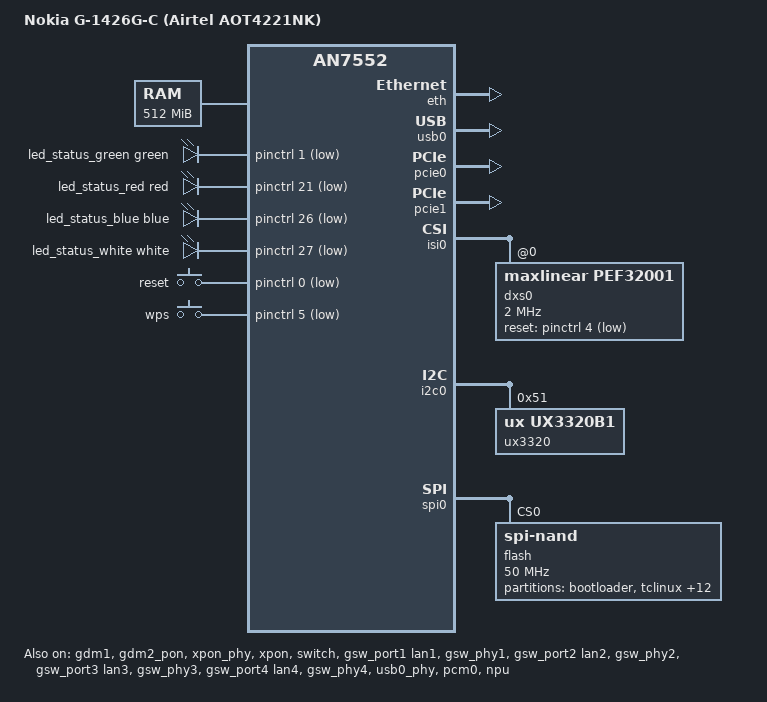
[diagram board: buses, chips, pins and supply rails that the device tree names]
// SPDX-License-Identifier: (GPL-2.0-only OR BSD-2-Clause)
/dts-v1/;

/memreserve/ 0x80000000 0x200000;

#include "an7552.dtsi"

/ {
	model = "Nokia G-1426G-C (Airtel AOT4221NK)";
	compatible = "nokia,g-1426g-c", "airoha,an7552";

	aliases {
		led-boot = &led_status_red;
		led-failsafe = &led_status_red;
		led-running = &led_status_red;
		led-upgrade = &led_status_blue;
	};

	chosen {
		bootargs = "console=ttyS0,115200n8";
	};

	memory@80000000 {
		device_type = "memory";
		reg = <0x80000000 0x20000000>;
	};

	leds {
		compatible = "gpio-leds";

		led_status_green: led-status-green {
			color = <LED_COLOR_ID_GREEN>;
			function = LED_FUNCTION_STATUS;
			gpios = <&pinctrl 1 GPIO_ACTIVE_LOW>;
		};

		led_status_red: led-status-red {
			color = <LED_COLOR_ID_RED>;
			function = LED_FUNCTION_STATUS;
			gpios = <&pinctrl 21 GPIO_ACTIVE_LOW>;
		};

		led_status_blue: led-status-blue {
			color = <LED_COLOR_ID_BLUE>;
			function = LED_FUNCTION_STATUS;
			gpios = <&pinctrl 26 GPIO_ACTIVE_LOW>;
		};

		led_status_white: led-status-white {
			color = <LED_COLOR_ID_WHITE>;
			function = LED_FUNCTION_STATUS;
			gpios = <&pinctrl 27 GPIO_ACTIVE_LOW>;
		};
	};

	keys {
		compatible = "gpio-keys";

		reset {
			label = "reset";
			linux,code = <KEY_RESTART>;
			gpios = <&pinctrl 0 GPIO_ACTIVE_LOW>;
			debounce-interval = <60>;
		};

		wps {
			label = "wps";
			linux,code = <KEY_WPS_BUTTON>;
			gpios = <&pinctrl 5 GPIO_ACTIVE_LOW>;
			debounce-interval = <60>;
		};
	};

	dxs_fxs: dxs-fxs {
		compatible = "airoha,en75xx-dxs-fxs";
		maxlinear,slic = <&dxs0>;
		airoha,pcm = <&pcm0>;
		airoha,pcm-channels = <0>;
		clock-frequency = <2048000>;
		maxlinear,pcm-tx-edge = <0>;
		maxlinear,pcm-rx-edge = <1>;
		maxlinear,pcm-tx-offset = <7>;
		maxlinear,pcm-rx-offset = <1>;
		airoha,bringup-mode = "identify";
		firmware-name = "airoha-voice/DXS_FW.bin";
		maxlinear,bbd-firmware = "airoha-voice/DXS_BBD.bin";
		maxlinear,dcdc-topology = "IBB12";
	};
};

&eth {
	status = "okay";
};

&gdm1 {
	status = "okay";
};

&gdm2_pon {
	status = "okay";
};

&xpon_phy {
	status = "okay";
};

&xpon {
	status = "okay";
};

&switch {
	status = "okay";
};

&gsw_port1 {
	label = "lan1";
	status = "okay";
};

&gsw_phy1 {
	status = "okay";
};

&gsw_port2 {
	label = "lan2";
	status = "okay";
};

&gsw_phy2 {
	status = "okay";
};

&gsw_port3 {
	label = "lan3";
	status = "okay";
};

&gsw_phy3 {
	status = "okay";
};

&gsw_port4 {
	label = "lan4";
	status = "okay";
};

&gsw_phy4 {
	status = "okay";
};

&usb0 {
	status = "okay";
};

&usb0_phy {
	status = "okay";
};

&pcie0 {
	status = "okay";
};

&pcie1 {
	status = "okay";
};

&pcm0 {
	status = "okay";
};

&isi0 {
	compatible = "airoha,en7523-csi-spi";
	status = "okay";

	dxs0: slic@0 {
		compatible = "maxlinear,pef32001";
		reg = <0>;
		spi-max-frequency = <2000000>;
		spi-cpol;
		spi-cpha;
		reset-gpios = <&pinctrl 4 GPIO_ACTIVE_LOW>;
		reset-interval-ms = <10>;
	};
};

/* MediaTek MT7916DBN primary HIF (2.4 GHz + 5 GHz DBDC) */
&pcie0_slot0 {
	mt7916@0,0 {
		reg = <0x0000 0 0 0 0>;
		#address-cells = <1>;
		#size-cells = <0>;
		nvmem-cells = <&eeprom_factory_0>;
		nvmem-cell-names = "eeprom";
		airoha,npu = <&npu>;
		airoha,eth = <&eth>;

		/* 2.4 GHz */
		band@0 {
			reg = <0>;
			nvmem-cells = <&macaddr_ri_440 2>;
			nvmem-cell-names = "mac-address";
		};

		/* 5 GHz */
		band@1 {
			reg = <1>;
			nvmem-cells = <&macaddr_ri_440 3>;
			nvmem-cell-names = "mac-address";
		};
	};
};

/* MediaTek MT7916DBN secondary HIF */
&pcie1_slot1 {
	mt7916@0,0 {
		reg = <0x0000 0 0 0 0>;
		#address-cells = <1>;
		#size-cells = <0>;
		nvmem-cells = <&eeprom_factory_0>;
		nvmem-cell-names = "eeprom";
		airoha,npu = <&npu>;
		airoha,eth = <&eth>;
	};
};

&npu {
	status = "okay";
	firmware-names = "rv32", "data";
	firmware-name = "airoha/an7552_mt7916_npu_rv32.bin",
			"airoha/an7552_mt7916_npu_data.bin";
};

&i2c0 {
	status = "okay";

	ux3320: optical-frontend@51 {
		compatible = "ux,ux3320b1";
		reg = <0x51>;
		#optical-frontend-cells = <0>;
		firmware-name = "ux/aot4221nk-ux3320b1-hwconfig.bin";
	};
};

&spi0 {
	flash@0 {
		reg = <0>;
		compatible = "spi-nand";
		spi-max-frequency = <50000000>;
		spi-tx-bus-width = <1>;
		spi-rx-bus-width = <2>;

		partitions {
			compatible = "fixed-partitions";
			#address-cells = <1>;
			#size-cells = <1>;

			partition@0 {
				label = "bootloader";
				reg = <0x0000000 0x0080000>;
				read-only;
			};

			partition@80000 {
				label = "tclinux";
				reg = <0x0080000 0x4600000>;
			};

			partition@4680000 {
				label = "tclinux_slave";
				reg = <0x4680000 0x4600000>;
			};

			partition@8c80000 {
				label = "uboot_env1";
				reg = <0x8c80000 0x0100000>;
			};

			partition@8d80000 {
				label = "uboot_env2";
				reg = <0x8d80000 0x0100000>;
			};

			partition@8e80000 {
				label = "RI";
				reg = <0x8e80000 0x0200000>;
				read-only;

				nvmem-layout {
					compatible = "fixed-layout";
					#address-cells = <1>;
					#size-cells = <1>;

					macaddr_ri_440: macaddr@440 {
						compatible = "mac-base";
						reg = <0x440 0x11>;
						#nvmem-cell-cells = <1>;
					};
				};
			};

			partition@9080000 {
				label = "Binfo";
				reg = <0x9080000 0x0200000>;
			};

			partition@9280000 {
				label = "cfg";
				reg = <0x9280000 0x1400000>;
			};

			partition@a680000 {
				label = "cfg_bak";
				reg = <0xa680000 0x1400000>;
			};

			partition@ba80000 {
				label = "log";
				reg = <0xba80000 0x0f00000>;
			};

			partition@c980000 {
				label = "extfs";
				reg = <0xc980000 0x0500000>;
			};

			partition@ce80000 {
				label = "mft_data";
				reg = <0xce80000 0x0800000>;
				read-only;
			};

			partition@d680000 {
				label = "art";
				reg = <0xd680000 0x0300000>;
				read-only;

				nvmem-layout {
					compatible = "fixed-layout";
					#address-cells = <1>;
					#size-cells = <1>;

					eeprom_factory_0: eeprom@2c0000 {
						reg = <0x2c0000 0x1000>;
					};
				};
			};

			/*
			 * Ends at 0x1c000000; 0x1c000000..0x20000000 (64 MiB) is left
			 * unmapped to preserve the vendor U-Boot BMT pool.
			 */
			partition@d980000 {
				label = "data";
				reg = <0xd980000 0xe680000>;
			};
		};
	};
};
